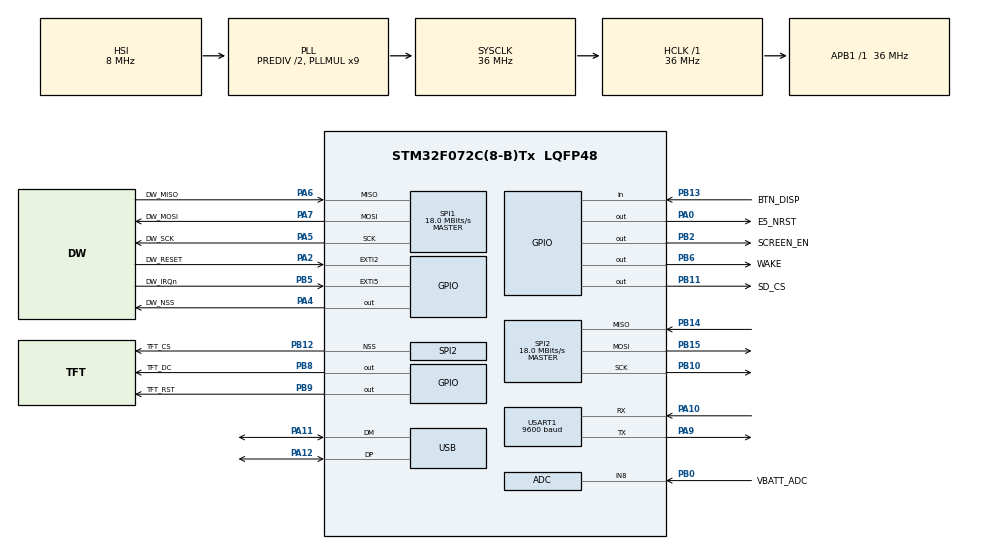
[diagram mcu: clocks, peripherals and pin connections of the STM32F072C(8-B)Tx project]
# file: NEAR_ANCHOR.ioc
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Dma.Request0=USART1_RX
Dma.USART1_RX.0.Direction=DMA_PERIPH_TO_MEMORY
Dma.USART1_RX.0.Instance=DMA1_Channel3
Dma.USART1_RX.0.MemDataAlignment=DMA_MDATAALIGN_BYTE
Dma.USART1_RX.0.MemInc=DMA_MINC_ENABLE
Dma.USART1_RX.0.Mode=DMA_CIRCULAR
Dma.USART1_RX.0.PeriphDataAlignment=DMA_PDATAALIGN_BYTE
Dma.USART1_RX.0.PeriphInc=DMA_PINC_DISABLE
Dma.USART1_RX.0.Priority=DMA_PRIORITY_LOW
Mcu.Family=STM32F0
Mcu.Name=STM32F072C(8-B)Tx
Mcu.Package=LQFP48
NVIC.DMA1_Channel2_3_IRQn=true\:0\:0\:false\:false\:true\:false\:true\:true
NVIC.EXTI2_3_IRQn=true\:0\:0\:false\:false\:true\:true\:true\:true
NVIC.EXTI4_15_IRQn=true\:0\:0\:false\:false\:true\:true\:true\:true
NVIC.RCC_CRS_IRQn=true\:0\:0\:false\:false\:true\:true\:false\:true
NVIC.TIM3_IRQn=true\:0\:0\:false\:false\:true\:true\:true\:true
NVIC.USART1_IRQn=true\:0\:0\:false\:false\:true\:true\:true\:true
NVIC.USB_IRQn=true\:0\:0\:false\:false\:true\:true\:true\:true
PA0.GPIO_Label=E5_NRST
PA0.Signal=GPIO_Output
PA10.Mode=Asynchronous
PA10.Signal=USART1_RX
PA11.Mode=Device
PA11.Signal=USB_DM
PA12.Mode=Device
PA12.Signal=USB_DP
PA13.Mode=Serial_Wire
PA13.Signal=SYS_SWDIO
PA14.Mode=Serial_Wire
PA14.Signal=SYS_SWCLK
PA2.GPIO_Label=DW_RESET
PA2.Signal=GPXTI2
PA4.GPIO_Label=DW_NSS
PA4.GPIO_Speed=GPIO_SPEED_FREQ_HIGH
PA4.Signal=GPIO_Output
PA5.GPIO_Label=DW_SCK
PA5.Mode=Full_Duplex_Master
PA5.Signal=SPI1_SCK
PA6.GPIO_Label=DW_MISO
PA6.Mode=Full_Duplex_Master
PA6.Signal=SPI1_MISO
PA7.GPIO_Label=DW_MOSI
PA7.Mode=Full_Duplex_Master
PA7.Signal=SPI1_MOSI
PA9.Mode=Asynchronous
PA9.Signal=USART1_TX
PB0.GPIO_Label=VBATT_ADC
PB0.Mode=IN8
PB0.Signal=ADC_IN8
PB10.Mode=Full_Duplex_Master
PB10.Signal=SPI2_SCK
PB11.GPIO_Label=SD_CS
PB11.Signal=GPIO_Output
PB12.GPIO_Label=TFT_CS
PB12.Mode=NSS_Signal_Hard_Output
PB12.Signal=SPI2_NSS
PB13.GPIO_Label=BTN_DISP
PB13.Signal=GPIO_Input
PB14.Mode=Full_Duplex_Master
PB14.Signal=SPI2_MISO
PB15.Mode=Full_Duplex_Master
PB15.Signal=SPI2_MOSI
PB2.GPIO_Label=SCREEN_EN
PB2.Signal=GPIO_Output
PB5.GPIO_Label=DW_IRQn
PB5.GPIO_PuPd=GPIO_PULLDOWN
PB5.Signal=GPXTI5
PB6.GPIO_Label=WAKE
PB6.Signal=GPIO_Output
PB8.GPIO_Label=TFT_DC
PB8.Signal=GPIO_Output
PB9.GPIO_Label=TFT_RST
PB9.Signal=GPIO_Output
PF0-OSC_IN.Mode=HSE-External-Oscillator
PF0-OSC_IN.Signal=RCC_OSC_IN
PF1-OSC_OUT.Mode=HSE-External-Oscillator
PF1-OSC_OUT.Signal=RCC_OSC_OUT
ProjectManager.HeapSize=0x200
ProjectManager.StackSize=0x400
ProjectManager.TargetToolchain=STM32CubeIDE
RCC.AHBFreq_Value=36000000
RCC.APB1Freq_Value=36000000
RCC.APB1TimFreq_Value=36000000
RCC.CodegenConfigPeriph=true
RCC.HCLKFreq_Value=36000000
RCC.LSE_Drive_CapabilityArg=+LSE_Drive_Capability
RCC.PLLDivider=RCC_PREDIV_DIV2
RCC.PLLMUL=RCC_PLL_MUL9
RCC.PWR_Regulator_Voltage_Scale=PWR_REGULATOR_VOLTAGE_SCALE1_BOOST
RCC.SYSCLKFreq_VALUE=36000000
RCC.SYSCLKSource=RCC_SYSCLKSOURCE_PLLCLK
RCC.USBFreq_Value=48000000
SPI1.BaudRatePrescaler=SPI_BAUDRATEPRESCALER_2
SPI1.CalculateBaudRate=18.0 MBits/s
SPI1.DataSize=SPI_DATASIZE_8BIT
SPI1.Direction=SPI_DIRECTION_2LINES
SPI1.Mode=SPI_MODE_MASTER
SPI1.VirtualType=VM_MASTER
SPI2.BaudRatePrescaler=SPI_BAUDRATEPRESCALER_2
SPI2.CalculateBaudRate=18.0 MBits/s
SPI2.Direction=SPI_DIRECTION_2LINES
SPI2.Mode=SPI_MODE_MASTER
SPI2.VirtualNSS=VM_NSSHARD
SPI2.VirtualType=VM_MASTER
TIM3.Period=360-1
TIM3.Prescaler=500-1
USART1.BaudRate=9600
USART1.OverrunDisableParam=ADVFEATURE_OVERRUN_DISABLE
USART1.SwapParam=ADVFEATURE_SWAP_DISABLE
USART1.VirtualMode-Asynchronous=VM_ASYNC
USB_DEVICE.CLASS_NAME_FS=CDC
USB_DEVICE.VirtualMode=Cdc
USB_DEVICE.VirtualModeFS=Cdc_FS
VP_TIM3_VS_ClockSourceINT.Mode=Internal
VP_USB_DEVICE_VS_USB_DEVICE_CDC_FS.Mode=CDC_FS
board=custom

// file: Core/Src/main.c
/* USER CODE BEGIN Header */
/**
  **************w***************************************************************
  * @file           : main.c
  * @brief          : Main program body
  ******************************************************************************
  * @attention
  *
  * Copyright (c) 2025 STMicroelectronics.
  * All rights reserved.
  *
  * This software is licensed under terms that can be found in the LICENSE file
  * in the root directory of this software component.
  * If no LICENSE file comes with this software, it is provided AS-IS.
  *
  ******************************************************************************
  */
/* USER CODE END Header */
#include "main.h"
#include "usb_device.h"

/* USER CODE BEGIN PD */
#define UART_RX_BUF_SIZE 1024
/* USER CODE END PD */

ADC_HandleTypeDef hadc;

SPI_HandleTypeDef hspi1;
SPI_HandleTypeDef hspi2;

TIM_HandleTypeDef htim3;

UART_HandleTypeDef huart1;
DMA_HandleTypeDef hdma_usart1_rx;

void SystemClock_Config(void);
static void MX_GPIO_Init(void);
static void MX_DMA_Init(void);
static void MX_USART1_UART_Init(void);
static void MX_SPI1_Init(void);
static void MX_ADC_Init(void);
static void MX_SPI2_Init(void);
static void MX_TIM3_Init(void);

/* USER CODE BEGIN 0 */

USBD_HandleTypeDef hUSBDDevice;
uint8_t uart_rx_buf[UART_RX_BUF_SIZE];

bool joined = 0;

char joined_msg[] = "+JOIN: Network joined";

/* USER CODE END 0 */

void send_at_msg(char* msg) {
	  HAL_UART_Transmit_IT(&huart1, (uint8_t*) msg, strlen(msg));
}

void (*send_at_msg_ptr)(char* msg);

void node_recv(uint32_t timeout_ms) {
	send_at_msg("AT+TEST=RXLRPKT\r\n");
	HAL_Delay(timeout_ms);
}

void node_send() {
	uint16_t count = 0;
	char data[32];
	char cmd[128];

	memset(data, 0, sizeof(data));
	sprintf(data, "%04X", count);
	sprintf(cmd, "AT+TEST=TXLRPKT,\"5345454544%s\"\r\n", data);

	send_at_msg(cmd);
	HAL_Delay(100);
}

int main(void)
{

  /* USER CODE BEGIN 1 */
	send_at_msg_ptr = &send_at_msg;

  /* USER CODE END 1 */

  /* MCU Configuration--------------------------------------------------------*/

  /* Reset of all peripherals, Initializes the Flash interface and the Systick. */
  HAL_Init();

  /* Configure the system clock */
  SystemClock_Config();

  /* Initialize all configured peripherals */
  MX_GPIO_Init();
  MX_DMA_Init();
  MX_USART1_UART_Init();
  MX_SPI1_Init();
  MX_ADC_Init();
  MX_SPI2_Init();
  MX_USB_DEVICE_Init();
  MX_TIM3_Init();
  /* USER CODE BEGIN 2 */

  // Startup sequence for LoRa module
  HAL_GPIO_WritePin(E5_NRST_GPIO_Port, E5_NRST_Pin, GPIO_PIN_SET);
  HAL_Delay(2000);
  HAL_GPIO_WritePin(E5_NRST_GPIO_Port, E5_NRST_Pin, GPIO_PIN_RESET);
  HAL_Delay(100);
  HAL_GPIO_WritePin(E5_NRST_GPIO_Port, E5_NRST_Pin, GPIO_PIN_SET);
  HAL_Delay(100);

  // LoRa command reception callback
  HAL_UARTEx_ReceiveToIdle_DMA(&huart1, uart_rx_buf, UART_RX_BUF_SIZE);

//  char tx_msg4[] = "AT+DR=US915\r\n";
//  HAL_UART_Transmit_IT(&huart1, (uint8_t*) &tx_msg4, sizeof(tx_msg4));
//  HAL_Delay(100);
//
//  char tx_msg5[] = "AT+CH\r\n";
//  HAL_UART_Transmit_IT(&huart1, (uint8_t*) &tx_msg5, sizeof(tx_msg5));
//  HAL_Delay(100);
//
//  for(int i = 0; i < 72; i++)
//  {
//    if(i < 8 || i > 72)
//    {
//      char tx_msg5_[14];
//      sprintf(tx_msg5_, "AT+CH=%d, OFF", i);
//      HAL_UART_Transmit_IT(&huart1, (uint8_t*) &tx_msg5_, sizeof(tx_msg5_));
//    }
//    HAL_Delay(50);
//  }
//
//  char tx_msg0[] = "AT+KEY=APPKEY,\"B8AC2B18AE0F96A0FF83A63E33D0BA15\"\r\n";
//  HAL_UART_Transmit_IT(&huart1, (uint8_t*) &tx_msg0, sizeof(tx_msg0));
//  HAL_Delay(500);
//
//  char tx_msg3[] = "AT+MODE= LWOTAA\r\n";
//  HAL_UART_Transmit_IT(&huart1, (uint8_t*) &tx_msg3, sizeof(tx_msg3));
//  HAL_Delay(100);

//  while(!joined)
//  {
//    char tx_msg_[] = "AT+ID=DevEui\r\n";
//    HAL_UART_Transmit_IT(&huart1, (uint8_t*) &tx_msg_, sizeof(tx_msg_));
//    HAL_Delay(1000);
//
//    char tx_msg2[] = "AT+ID=AppEui\r\n";
//    HAL_UART_Transmit_IT(&huart1, (uint8_t*) &tx_msg2, sizeof(tx_msg2));
//    HAL_Delay(1000);
//
//    char tx_msg_class[] = "AT+CLASS=C\r\n";
//    HAL_UART_Transmit_IT(&huart1, (uint8_t*) &tx_msg_class, sizeof(tx_msg_class));
//    HAL_Delay(1000);

    // char tx_msg_mc[] = "AT+LW=MC,OFF\r\n";
    // HAL_UART_Transmit_IT(&huart1, (uint8_t*) &tx_msg_class, sizeof(tx_msg_class));
    // HAL_Delay(1000);

//    char tx_msg_durmx[] = "AT+LW=DUMRX,ON\r\n";
//    HAL_UART_Transmit_IT(&huart1, (uint8_t*) &tx_msg_durmx, sizeof(tx_msg_durmx));
//    HAL_Delay(1000);
//
//    char tx_msg_dcmrx[] = "AT+LW=DCMRX,ON\r\n";
//    HAL_UART_Transmit_IT(&huart1, (uint8_t*) &tx_msg_dcmrx, sizeof(tx_msg_dcmrx));
//    HAL_Delay(1000);
//
//    char tx_msg_dr[] = "AT+LW=CDR\r\n";
//	HAL_UART_Transmit_IT(&huart1, (uint8_t*) &tx_msg_dr, sizeof(tx_msg_dr));
//	HAL_Delay(1000);
//
//	char tx_msg_adr[] = "AT+ADR=?\r\n";
//	HAL_UART_Transmit_IT(&huart1, (uint8_t*) &tx_msg_adr, sizeof(tx_msg_adr));
//	HAL_Delay(1000);
//
//    char tx_msg8[] = "AT+JOIN\r\n";
//    HAL_UART_Transmit_IT(&huart1, (uint8_t*) &tx_msg8, sizeof(tx_msg8));
//
//    CDC_Transmit_FS("JOIN ATTEMPT\r\n", 14);
//
//    HAL_Delay(2000);
//
//  }

//  CDC_Transmit_FS("JOIN SUCCESS\r\n", 14);

  #ifdef FLASH_TAG
    tag_main();
  #endif

  #ifdef FLASH_ANCHOR
    anchor_main(send_at_msg_ptr);
  #endif

  #ifdef EX_02A_DEF
    dw_main();
  #endif

  /* USER CODE END 2 */

  /* Infinite loop */
  /* USER CODE BEGIN WHILE */

//  HAL_Delay(2000);
//  send_at_msg("AT+MODE=TEST\r\n");
//  HAL_Delay(100);
//  send_at_msg("AT+TEST=RFCFG,915,SF8,500,12,15,14,ON,OFF,OFF\r\n");
//  HAL_Delay(100);
//  send_at_msg("AT+TEST=RXLRPKT\r\n");

  while (1)
  {
//	  send_at_msg("AT+TEST=TXLRSTR, \"Hello Cruel World\"\r\n");
//	  HAL_Delay(100);

//	  send_at_msg("AT+MODE=TEST\r\n");
//	  HAL_Delay(100);

//	  node_recv(2000);
//	  node_send();

//	   char tx_msg8[] = "AT\r\n";
//	   HAL_UART_Transmit_IT(&huart1, (uint8_t*) &tx_msg8, sizeof(tx_msg8));

//     char tx_msg8[] = "AT+JOIN\r\n";
//     HAL_UART_Transmit_IT(&huart1, (uint8_t*) &tx_msg8, sizeof(tx_msg8));
//     HAL_Delay(3000);

//    char tx_msg[] = "AT+MSG=\"Adi<3robot\"\r\n";
//    HAL_UART_Transmit_IT(&huart1, (uint8_t*) &tx_msg, sizeof(tx_msg));
//    HAL_Delay(500);

//	  send_at_msg("AT+MODE=TEST\r\n");
//	  send_at_msg("AT+TEST=RFCFG,866,SF12,125,12,15,14,ON,OFF,OFF\r\n");

    /* USER CODE END WHILE */

  }
}

void SystemClock_Config(void)
{
  RCC_OscInitTypeDef RCC_OscInitStruct = {0};
  RCC_ClkInitTypeDef RCC_ClkInitStruct = {0};
  RCC_PeriphCLKInitTypeDef PeriphClkInit = {0};

  /** Initializes the RCC Oscillators according to the specified parameters
  * in the RCC_OscInitTypeDef structure.
  */
  RCC_OscInitStruct.OscillatorType = RCC_OSCILLATORTYPE_HSI|RCC_OSCILLATORTYPE_HSI14
                              |RCC_OSCILLATORTYPE_HSI48;
  RCC_OscInitStruct.HSIState = RCC_HSI_ON;
  RCC_OscInitStruct.HSI48State = RCC_HSI48_ON;
  RCC_OscInitStruct.HSI14State = RCC_HSI14_ON;
  RCC_OscInitStruct.HSICalibrationValue = RCC_HSICALIBRATION_DEFAULT;
  RCC_OscInitStruct.HSI14CalibrationValue = 16;
  RCC_OscInitStruct.PLL.PLLState = RCC_PLL_ON;
  RCC_OscInitStruct.PLL.PLLSource = RCC_PLLSOURCE_HSI;
  RCC_OscInitStruct.PLL.PLLMUL = RCC_PLL_MUL9;
  RCC_OscInitStruct.PLL.PREDIV = RCC_PREDIV_DIV2;
  if (HAL_RCC_OscConfig(&RCC_OscInitStruct) != HAL_OK)
  {
    Error_Handler();
  }

  /** Initializes the CPU, AHB and APB buses clocks
  */
  RCC_ClkInitStruct.ClockType = RCC_CLOCKTYPE_HCLK|RCC_CLOCKTYPE_SYSCLK
                              |RCC_CLOCKTYPE_PCLK1;
  RCC_ClkInitStruct.SYSCLKSource = RCC_SYSCLKSOURCE_PLLCLK;
  RCC_ClkInitStruct.AHBCLKDivider = RCC_SYSCLK_DIV1;
  RCC_ClkInitStruct.APB1CLKDivider = RCC_HCLK_DIV1;

  if (HAL_RCC_ClockConfig(&RCC_ClkInitStruct, FLASH_LATENCY_1) != HAL_OK)
  {
    Error_Handler();
  }
  PeriphClkInit.PeriphClockSelection = RCC_PERIPHCLK_USB|RCC_PERIPHCLK_USART1;
  PeriphClkInit.Usart1ClockSelection = RCC_USART1CLKSOURCE_PCLK1;
  PeriphClkInit.UsbClockSelection = RCC_USBCLKSOURCE_HSI48;

  if (HAL_RCCEx_PeriphCLKConfig(&PeriphClkInit) != HAL_OK)
  {
    Error_Handler();
  }
}

static void MX_ADC_Init(void)
{

  ADC_ChannelConfTypeDef sConfig = {0};

  /** Configure the global features of the ADC (Clock, Resolution, Data Alignment and number of conversion)
  */
  hadc.Instance = ADC1;
  hadc.Init.ClockPrescaler = ADC_CLOCK_ASYNC_DIV1;
  hadc.Init.Resolution = ADC_RESOLUTION_12B;
  hadc.Init.DataAlign = ADC_DATAALIGN_RIGHT;
  hadc.Init.ScanConvMode = ADC_SCAN_DIRECTION_FORWARD;
  hadc.Init.EOCSelection = ADC_EOC_SINGLE_CONV;
  hadc.Init.LowPowerAutoWait = DISABLE;
  hadc.Init.LowPowerAutoPowerOff = DISABLE;
  hadc.Init.ContinuousConvMode = DISABLE;
  hadc.Init.DiscontinuousConvMode = DISABLE;
  hadc.Init.ExternalTrigConv = ADC_SOFTWARE_START;
  hadc.Init.ExternalTrigConvEdge = ADC_EXTERNALTRIGCONVEDGE_NONE;
  hadc.Init.DMAContinuousRequests = DISABLE;
  hadc.Init.Overrun = ADC_OVR_DATA_PRESERVED;
  if (HAL_ADC_Init(&hadc) != HAL_OK)
  {
    Error_Handler();
  }

  /** Configure for the selected ADC regular channel to be converted.
  */
  sConfig.Channel = ADC_CHANNEL_8;
  sConfig.Rank = ADC_RANK_CHANNEL_NUMBER;
  sConfig.SamplingTime = ADC_SAMPLETIME_1CYCLE_5;
  if (HAL_ADC_ConfigChannel(&hadc, &sConfig) != HAL_OK)
  {
    Error_Handler();
  }

}

static void MX_SPI1_Init(void)
{

  /* SPI1 parameter configuration*/
  hspi1.Instance = SPI1;
  hspi1.Init.Mode = SPI_MODE_MASTER;
  hspi1.Init.Direction = SPI_DIRECTION_2LINES;
  hspi1.Init.DataSize = SPI_DATASIZE_8BIT;
  hspi1.Init.CLKPolarity = SPI_POLARITY_LOW;
  hspi1.Init.CLKPhase = SPI_PHASE_1EDGE;
  hspi1.Init.NSS = SPI_NSS_SOFT;
  hspi1.Init.BaudRatePrescaler = SPI_BAUDRATEPRESCALER_2;
  hspi1.Init.FirstBit = SPI_FIRSTBIT_MSB;
  hspi1.Init.TIMode = SPI_TIMODE_DISABLE;
  hspi1.Init.CRCCalculation = SPI_CRCCALCULATION_DISABLE;
  hspi1.Init.CRCPolynomial = 7;
  hspi1.Init.CRCLength = SPI_CRC_LENGTH_DATASIZE;
  hspi1.Init.NSSPMode = SPI_NSS_PULSE_ENABLE;
  if (HAL_SPI_Init(&hspi1) != HAL_OK)
  {
    Error_Handler();
  }

}

static void MX_SPI2_Init(void)
{

  /* SPI2 parameter configuration*/
  hspi2.Instance = SPI2;
  hspi2.Init.Mode = SPI_MODE_MASTER;
  hspi2.Init.Direction = SPI_DIRECTION_2LINES;
  hspi2.Init.DataSize = SPI_DATASIZE_4BIT;
  hspi2.Init.CLKPolarity = SPI_POLARITY_LOW;
  hspi2.Init.CLKPhase = SPI_PHASE_1EDGE;
  hspi2.Init.NSS = SPI_NSS_HARD_OUTPUT;
  hspi2.Init.BaudRatePrescaler = SPI_BAUDRATEPRESCALER_2;
  hspi2.Init.FirstBit = SPI_FIRSTBIT_MSB;
  hspi2.Init.TIMode = SPI_TIMODE_DISABLE;
  hspi2.Init.CRCCalculation = SPI_CRCCALCULATION_DISABLE;
  hspi2.Init.CRCPolynomial = 7;
  hspi2.Init.CRCLength = SPI_CRC_LENGTH_DATASIZE;
  hspi2.Init.NSSPMode = SPI_NSS_PULSE_ENABLE;
  if (HAL_SPI_Init(&hspi2) != HAL_OK)
  {
    Error_Handler();
  }

}

static void MX_TIM3_Init(void)
{

  TIM_ClockConfigTypeDef sClockSourceConfig = {0};
  TIM_MasterConfigTypeDef sMasterConfig = {0};

  htim3.Instance = TIM3;
  htim3.Init.Prescaler = 500-1;
  htim3.Init.CounterMode = TIM_COUNTERMODE_UP;
  htim3.Init.Period = 360-1;
  htim3.Init.ClockDivision = TIM_CLOCKDIVISION_DIV1;
  htim3.Init.AutoReloadPreload = TIM_AUTORELOAD_PRELOAD_DISABLE;
  if (HAL_TIM_Base_Init(&htim3) != HAL_OK)
  {
    Error_Handler();
  }
  sClockSourceConfig.ClockSource = TIM_CLOCKSOURCE_INTERNAL;
  if (HAL_TIM_ConfigClockSource(&htim3, &sClockSourceConfig) != HAL_OK)
  {
    Error_Handler();
  }
  sMasterConfig.MasterOutputTrigger = TIM_TRGO_RESET;
  sMasterConfig.MasterSlaveMode = TIM_MASTERSLAVEMODE_DISABLE;
  if (HAL_TIMEx_MasterConfigSynchronization(&htim3, &sMasterConfig) != HAL_OK)
  {
    Error_Handler();
  }

}

static void MX_USART1_UART_Init(void)
{

  huart1.Instance = USART1;
  huart1.Init.BaudRate = 9600;
  huart1.Init.WordLength = UART_WORDLENGTH_8B;
  huart1.Init.StopBits = UART_STOPBITS_1;
  huart1.Init.Parity = UART_PARITY_NONE;
  huart1.Init.Mode = UART_MODE_TX_RX;
  huart1.Init.HwFlowCtl = UART_HWCONTROL_NONE;
  huart1.Init.OverSampling = UART_OVERSAMPLING_16;
  huart1.Init.OneBitSampling = UART_ONE_BIT_SAMPLE_DISABLE;
  huart1.AdvancedInit.AdvFeatureInit = UART_ADVFEATURE_RXOVERRUNDISABLE_INIT;
  huart1.AdvancedInit.OverrunDisable = UART_ADVFEATURE_OVERRUN_DISABLE;
  if (HAL_UART_Init(&huart1) != HAL_OK)
  {
    Error_Handler();
  }

}

static void MX_DMA_Init(void)
{

  /* DMA controller clock enable */
  __HAL_RCC_DMA1_CLK_ENABLE();

  /* DMA interrupt init */
  /* DMA1_Channel2_3_IRQn interrupt configuration */
  HAL_NVIC_SetPriority(DMA1_Channel2_3_IRQn, 0, 0);
  HAL_NVIC_EnableIRQ(DMA1_Channel2_3_IRQn);

}

static void MX_GPIO_Init(void)
{
  GPIO_InitTypeDef GPIO_InitStruct = {0};

  /* GPIO Ports Clock Enable */
  __HAL_RCC_GPIOF_CLK_ENABLE();
  __HAL_RCC_GPIOA_CLK_ENABLE();
  __HAL_RCC_GPIOB_CLK_ENABLE();

  /*Configure GPIO pin Output Level */
  HAL_GPIO_WritePin(GPIOA, E5_NRST_Pin|DW_NSS_Pin, GPIO_PIN_RESET);

  /*Configure GPIO pin Output Level */
  HAL_GPIO_WritePin(GPIOB, SCREEN_EN_Pin|SD_CS_Pin|WAKE_Pin|TFT_DC_Pin
                          |TFT_RST_Pin, GPIO_PIN_RESET);

  /*Configure GPIO pin : E5_NRST_Pin */
  GPIO_InitStruct.Pin = E5_NRST_Pin;
  GPIO_InitStruct.Mode = GPIO_MODE_OUTPUT_PP;
  GPIO_InitStruct.Pull = GPIO_NOPULL;
  GPIO_InitStruct.Speed = GPIO_SPEED_FREQ_LOW;
  HAL_GPIO_Init(E5_NRST_GPIO_Port, &GPIO_InitStruct);

  /*Configure GPIO pin : DW_RESET_Pin */
  GPIO_InitStruct.Pin = DW_RESET_Pin;
  GPIO_InitStruct.Mode = GPIO_MODE_IT_RISING;
  GPIO_InitStruct.Pull = GPIO_NOPULL;
  HAL_GPIO_Init(DW_RESET_GPIO_Port, &GPIO_InitStruct);

  /*Configure GPIO pin : DW_NSS_Pin */
  GPIO_InitStruct.Pin = DW_NSS_Pin;
  GPIO_InitStruct.Mode = GPIO_MODE_OUTPUT_PP;
  GPIO_InitStruct.Pull = GPIO_NOPULL;
  GPIO_InitStruct.Speed = GPIO_SPEED_FREQ_HIGH;
  HAL_GPIO_Init(DW_NSS_GPIO_Port, &GPIO_InitStruct);

  /*Configure GPIO pins : SCREEN_EN_Pin SD_CS_Pin WAKE_Pin TFT_DC_Pin
                           TFT_RST_Pin */
  GPIO_InitStruct.Pin = SCREEN_EN_Pin|SD_CS_Pin|WAKE_Pin|TFT_DC_Pin
                          |TFT_RST_Pin;
  GPIO_InitStruct.Mode = GPIO_MODE_OUTPUT_PP;
  GPIO_InitStruct.Pull = GPIO_NOPULL;
  GPIO_InitStruct.Speed = GPIO_SPEED_FREQ_LOW;
  HAL_GPIO_Init(GPIOB, &GPIO_InitStruct);

  /*Configure GPIO pin : BTN_DISP_Pin */
  GPIO_InitStruct.Pin = BTN_DISP_Pin;
  GPIO_InitStruct.Mode = GPIO_MODE_INPUT;
  GPIO_InitStruct.Pull = GPIO_NOPULL;
  HAL_GPIO_Init(BTN_DISP_GPIO_Port, &GPIO_InitStruct);

  /*Configure GPIO pin : DW_IRQn_Pin */
  GPIO_InitStruct.Pin = DW_IRQn_Pin;
  GPIO_InitStruct.Mode = GPIO_MODE_IT_RISING;
  GPIO_InitStruct.Pull = GPIO_PULLDOWN;
  HAL_GPIO_Init(DW_IRQn_GPIO_Port, &GPIO_InitStruct);

  /* EXTI interrupt init*/
  HAL_NVIC_SetPriority(EXTI2_3_IRQn, 0, 0);
  HAL_NVIC_EnableIRQ(EXTI2_3_IRQn);

  HAL_NVIC_SetPriority(EXTI4_15_IRQn, 0, 0);
  HAL_NVIC_EnableIRQ(EXTI4_15_IRQn);

}

/* USER CODE BEGIN 4 */

void HAL_UARTEx_RxEventCallback(UART_HandleTypeDef *huart, uint16_t offset)
{

	static uint16_t last_offset = 0;

	// Ignore if called twice (which will happen on every half buffer)
	if (offset != last_offset) {

		// If wrap around reset last_size
		if (offset < last_offset)
			last_offset = 0;

    CDC_Transmit_FS(uart_rx_buf + last_offset, offset - last_offset);

    static uint16_t response_offset = 0;

    for(uint16_t i = last_offset; i < offset; i++)
    {
      if(uart_rx_buf[i] == '+')
      {
        response_offset = i;
        if (offset < response_offset)
          response_offset = 0;
        if(memcmp(uart_rx_buf + response_offset, joined_msg, sizeof(joined_msg) - 1) == 0)
        {
          joined = 1;
          break;
        }
      }
    }

    last_offset = offset;

	}

}

/* USER CODE END 4 */

void Error_Handler(void)
{
  __disable_irq();
  while (1)
  {
  }
}
